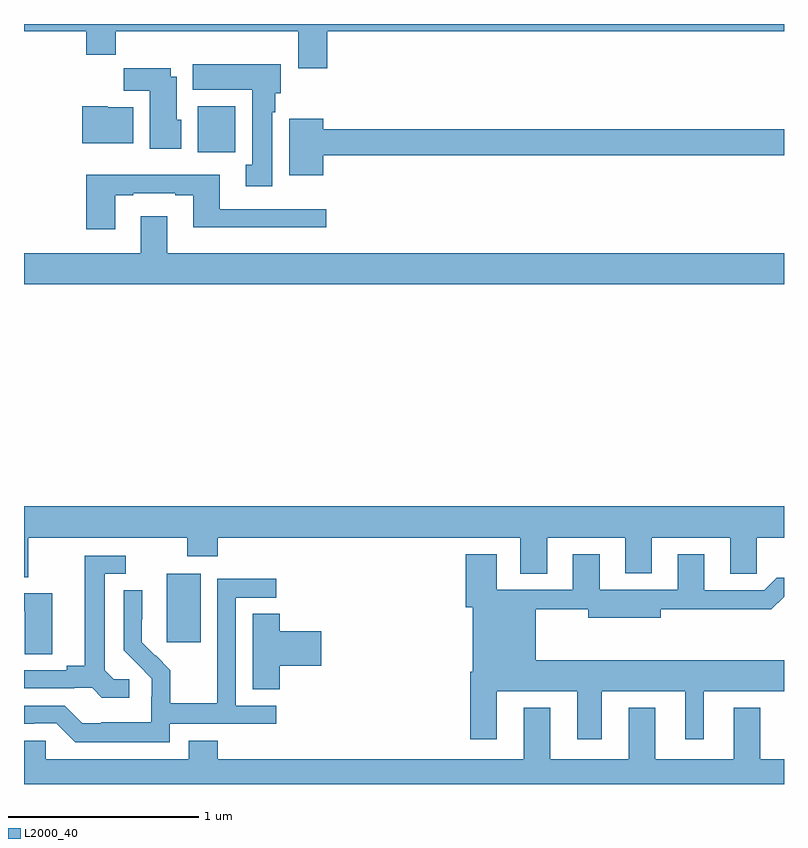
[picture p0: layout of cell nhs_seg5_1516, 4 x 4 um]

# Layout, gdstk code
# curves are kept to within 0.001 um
import gdstk
lib = gdstk.Library(unit=1e-6, precision=1e-09)
def R(c, l, rs):  # rectangles x0, y0, x1, y1
    for r in rs: c.add(gdstk.rectangle(r[:2], r[2:], *l))
def P(c, l, *ps):  # polygons
    for p in ps: c.add(gdstk.Polygon(p, *l))
L2000_40 = (2000, 40)

nhs_seg5_1516 = lib.new_cell('nhs_seg5_1516')
R(nhs_seg5_1516, L2000_40, [(203.75,853.545,203.929,853.906), (203.915,856.124,204.112,856.366)])
P(nhs_seg5_1516, L2000_40, [(203,856.76),(203.327,856.76),(203.327,856.636),(203.483,856.636),(203.483,856.76),(204.443,856.76),(204.443,856.566),(204.596,856.566),(204.596,856.76),(207,856.76),(207,856.799),(203,856.799)],
  [(204.307,856.334),(204.322,856.334),(204.322,856.434),(204.352,856.434),(204.352,856.588),(203.888,856.588),(203.888,856.454),(204.2,856.454),(204.2,856.058),(204.167,856.058),(204.167,855.945),(204.307,855.945)],
  [(203.827,856.296),(203.803,856.296),(203.803,856.522),(203.773,856.522),(203.773,856.567),(203.524,856.567),(203.524,856.448),(203.663,856.448),(203.663,856.142),(203.827,856.142)],
  [(203.575,856.36),(203.442,856.36),(203.442,856.366),(203.306,856.366),(203.306,856.172),(203.575,856.172)],
  [(204.574,856.108),(207,856.108),(207,856.244),(204.574,856.244),(204.574,856.3),(204.395,856.3),(204.395,856.004),(204.574,856.004)],
  [(203.479,855.897),(203.575,855.897),(203.575,855.909),(203.795,855.909),(203.795,855.897),(203.891,855.897),(203.891,855.728),(204.592,855.728),(204.592,855.825),(204.031,855.825),(204.031,856.006),(203.327,856.006),(203.327,855.72),(203.479,855.72)],
  [(207,855.592),(203.755,855.592),(203.755,855.787),(203.615,855.787),(203.615,855.592),(203,855.592),(203,855.428),(207,855.428)],
  [(203.023,854.096),(203.86,854.096),(203.86,853.997),(204.02,853.997),(204.02,854.096),(205.613,854.096),(205.613,853.906),(205.753,853.906),(205.753,854.096),(206.165,854.096),(206.165,853.907),(206.305,853.907),(206.305,854.096),(206.717,854.096),(206.717,853.906),(206.856,853.906),(206.856,854.096),(207,854.096),(207,854.26),(203,854.26),(203,853.888),(203.023,853.888)],
  [(205.489,853.286),(205.913,853.286),(205.913,853.035),(206.041,853.035),(206.041,853.286),(206.48,853.286),(206.48,853.035),(206.578,853.035),(206.578,853.286),(207,853.286),(207,853.45),(205.693,853.45),(205.693,853.72),(205.97,853.72),(205.97,853.673),(206.35,853.673),(206.35,853.72),(206.677,853.72),(206.677,853.718),(206.933,853.718),(207,853.785),(207,853.885),(206.962,853.885),(206.895,853.818),(206.581,853.818),(206.581,854.008),(206.441,854.008),(206.441,853.821),(206.029,853.822),(206.029,854.008),(205.889,854.008),(205.889,853.821),(205.489,853.821),(205.489,854.008),(205.325,854.008),(205.325,853.728),(205.361,853.728),(205.361,853.39),(205.349,853.39),(205.349,853.035),(205.489,853.035)],
  [(203.554,853.35),(203.472,853.35),(203.425,853.397),(203.425,853.905),(203.536,853.905),(203.536,854.001),(203.321,854.001),(203.321,853.421),(203.225,853.421),(203.225,853.398),(203,853.398),(203,853.302),(203.264,853.302),(203.264,853.305),(203.358,853.305),(203.41,853.253),(203.554,853.253)],
  [(203.766,853.116),(204.328,853.116),(204.328,853.212),(204.114,853.212),(204.114,853.779),(204.328,853.779),(204.328,853.878),(204.018,853.878),(204.018,853.448),(204.016,853.448),(204.016,853.225),(203.771,853.225),(203.771,853.399),(203.694,853.476),(203.691,853.473),(203.621,853.544),(203.622,853.82),(203.526,853.82),(203.526,853.502),(203.672,853.354),(203.672,853.257),(203.67,853.257),(203.67,853.123),(203.407,853.123),(203.407,853.119),(203.307,853.119),(203.214,853.212),(203,853.212),(203,853.116),(203.054,853.116),(203.054,853.119),(203.169,853.119),(203.269,853.019),(203.766,853.019)],
  [(203.149,853.803),(203,853.803),(203,853.707),(203.004,853.707),(203.004,853.483),(203.149,853.483)],
  [(204.347,853.421),(204.565,853.421),(204.565,853.604),(204.347,853.604),(204.347,853.694),(204.203,853.694),(204.203,853.297),(204.347,853.297)],
  [(207,852.928),(206.875,852.928),(206.875,853.201),(206.735,853.201),(206.735,852.928),(206.323,852.928),(206.323,853.201),(206.183,853.201),(206.183,852.928),(205.771,852.928),(205.771,853.201),(205.631,853.201),(205.631,852.928),(204.02,852.928),(204.02,853.027),(203.867,853.027),(203.867,852.928),(203.115,852.928),(203.115,853.026),(203,853.026),(203,852.799),(207,852.799)])

lib.write_gds('nhs_seg5_1516.gds')
